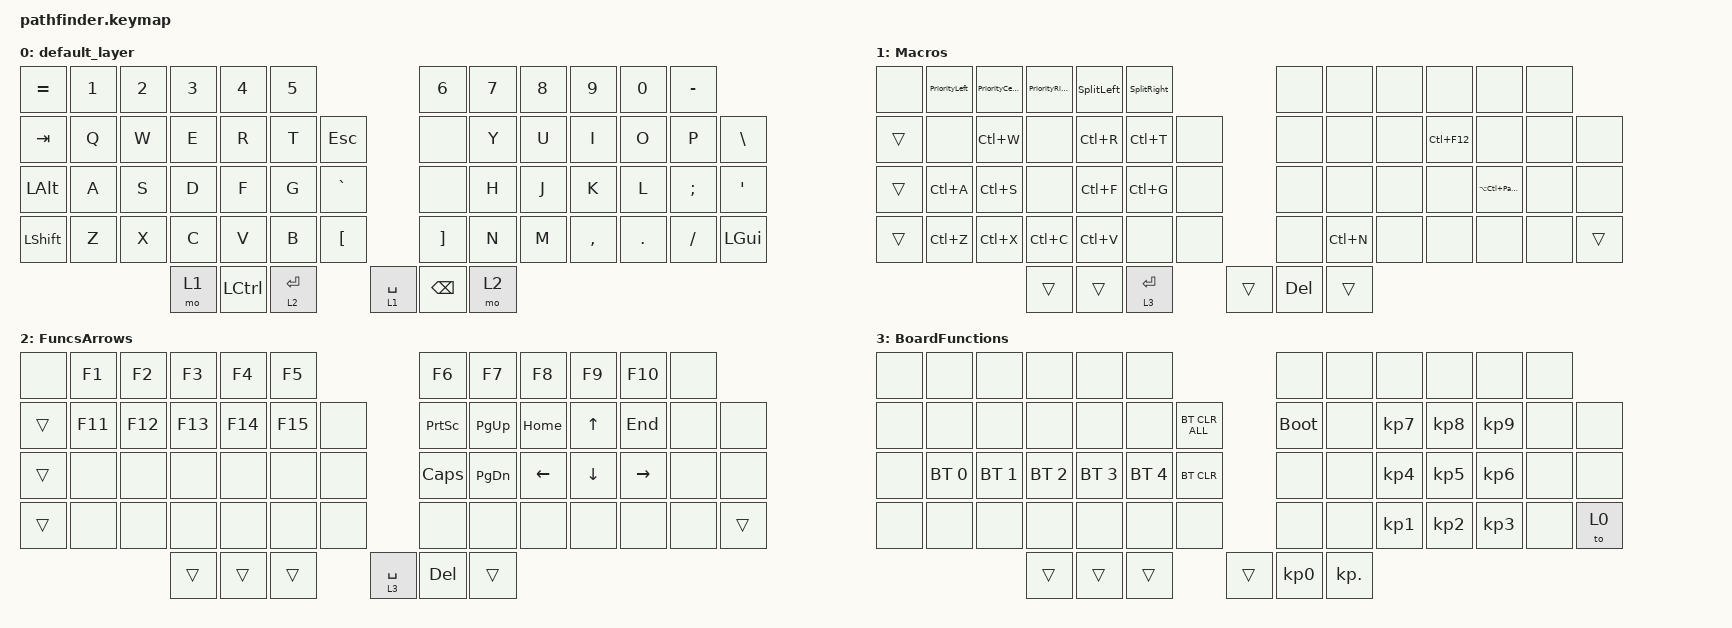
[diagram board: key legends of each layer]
/*
 * Copyright (c) 2020 The ZMK Contributors
 *
 * SPDX-License-Identifier: MIT
 */

#include <behaviors.dtsi>
#include <dt-bindings/zmk/bt.h>
#include <dt-bindings/zmk/keys.h>

&lt { tapping-term-ms = <300>; };

/ {
    combos {
        compatible = "zmk,combos";

        combo_game {
            timeout-ms = <50>;
            key-positions = <0 5>;
            bindings = <&tog 0>;
        };
    };
};

/ {
    macros {
        PriorityLeft: PriorityLeft {
            compatible = "zmk,behavior-macro";
            #binding-cells = <0>;
            bindings = <&macro_wait_time 250>, <&kp LG(Z) &kp N9 &kp N1>;

            label = "PRIORITYLEFT";
        };

        PriorityCenter: PriorityCenter {
            compatible = "zmk,behavior-macro";
            #binding-cells = <0>;
            bindings = <&macro_wait_time 250>, <&kp LG(Z) &kp N9 &kp N2>;

            label = "PRIORITYCENTER";
        };

        PriorityRight: PriorityRight {
            compatible = "zmk,behavior-macro";
            #binding-cells = <0>;
            bindings = <&macro_wait_time 250>, <&kp LG(Z) &kp N9 &kp N3>;

            label = "PRIORITYRIGHT";
        };

        SplitLeft: SplitLeft {
            compatible = "zmk,behavior-macro";
            #binding-cells = <0>;
            bindings = <&macro_wait_time 250>, <&kp LG(Z) &kp N4 &kp N1>;

            label = "SPLITLEFT";
        };

        SplitRight: SplitRight {
            compatible = "zmk,behavior-macro";
            #binding-cells = <0>;
            bindings = <&macro_wait_time 250>, <&kp LG(Z) &kp N4 &kp N2>;

            label = "SPLITRIGHT";
        };
    };

    keymap {
        compatible = "zmk,keymap";

        default_layer {
            bindings = <
&kp EQUAL  &kp N1  &kp N2  &kp N3  &kp N4     &kp N5                             &kp N6    &kp N7  &kp N8  &kp N9     &kp N0   &kp MINUS
&kp TAB    &kp Q   &kp W   &kp E   &kp R      &kp T      &kp ESC                 &none     &kp Y   &kp U   &kp I      &kp O    &kp P      &kp BSLH
&kp LALT   &kp A   &kp S   &kp D   &kp F      &kp G      &kp GRAVE               &none     &kp H   &kp J   &kp K      &kp L    &kp SEMI   &kp SQT
&kp LSHFT  &kp Z   &kp X   &kp C   &kp V      &kp B      &kp LBKT                &kp RBKT  &kp N   &kp M   &kp COMMA  &kp DOT  &kp FSLH   &kp LGUI
                           &mo 1   &kp LCTRL  &lt 2 RET             &lt 1 SPACE  &kp BSPC  &mo 2
            >;
        };

        Macros {
            bindings = <
&none   &PriorityLeft  &PriorityCenter  &PriorityRight  &SplitLeft  &SplitRight                 &none    &none      &none  &none        &none                    &none
&trans  &none          &kp LC(W)        &none           &kp LC(R)   &kp LC(T)    &none          &none    &none      &none  &kp LC(F12)  &none                    &none  &none
&trans  &kp LC(A)      &kp LC(S)        &none           &kp LC(F)   &kp LC(G)    &none          &none    &none      &none  &none        &kp LA(LC(PAUSE_BREAK))  &none  &none
&trans  &kp LC(Z)      &kp LC(X)        &kp LC(C)       &kp LC(V)   &none        &none          &none    &kp LC(N)  &none  &none        &none                    &none  &trans
                                        &trans          &trans      &lt 3 ENTER         &trans  &kp DEL  &trans
            >;
        };

        FuncsArrows {
            bindings = <
&none   &kp F1   &kp F2   &kp F3   &kp F4   &kp F5                       &kp F6           &kp F7     &kp F8    &kp F9    &kp F10    &none
&trans  &kp F11  &kp F12  &kp F13  &kp F14  &kp F15  &none               &kp PRINTSCREEN  &kp PG_UP  &kp HOME  &kp UP    &kp END    &none  &none
&trans  &none    &none    &none    &none    &none    &none               &kp CLCK         &kp PG_DN  &kp LEFT  &kp DOWN  &kp RIGHT  &none  &none
&trans  &none    &none    &none    &none    &none    &none               &none            &none      &none     &none     &none      &none  &trans
                          &trans   &trans   &trans          &lt 3 SPACE  &kp DELETE       &trans
            >;
        };

        BoardFunctions {
            bindings = <
&none  &none         &none         &none         &none         &none                                 &none            &none       &none            &none            &none            &none
&none  &none         &none         &none         &none         &none         &bt BT_CLR_ALL          &bootloader      &none       &kp KP_NUMBER_7  &kp KP_NUMBER_8  &kp KP_NUMBER_9  &none  &none
&none  &bt BT_SEL 0  &bt BT_SEL 1  &bt BT_SEL 2  &bt BT_SEL 3  &bt BT_SEL 4  &bt BT_CLR              &none            &none       &kp KP_NUMBER_4  &kp KP_NUMBER_5  &kp KP_NUMBER_6  &none  &none
&none  &none         &none         &none         &none         &none         &none                   &none            &none       &kp KP_NUMBER_1  &kp KP_NUMBER_2  &kp KP_NUMBER_3  &none  &to 0
                                   &trans        &trans        &trans                        &trans  &kp KP_NUMBER_0  &kp KP_DOT
            >;
        };
    };
};
